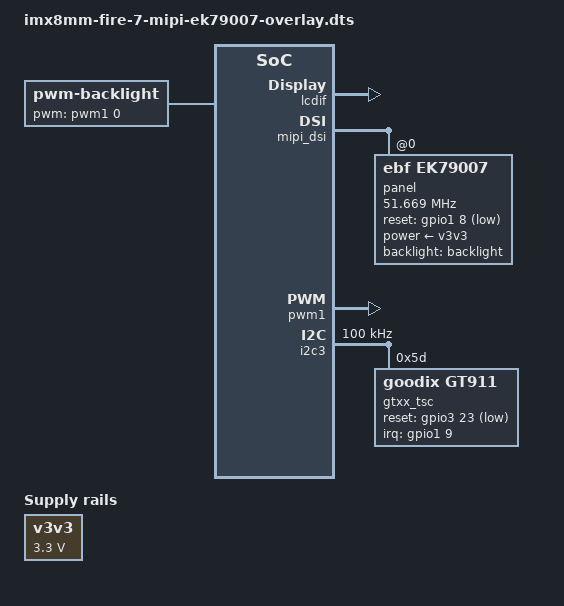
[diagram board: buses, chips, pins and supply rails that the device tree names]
/*
 * Copyright (C) 2021 - All Rights Reserved by 
 * filename : imx8mm-fire-mipi-overlay.dts
 * brief : Device Tree overlay for ebf imx8mm hx8394 lcd device
 * author : embedfire
 * date : 2023-02-05 
 * version : A001
 */

/dts-v1/;
/plugin/;

#include "../imx8mm-pinfunc.h"
#include "dt-bindings/gpio/gpio.h"
#include "dt-bindings/interrupt-controller/arm-gic.h"

/ {
    fragment@0 {
        target-path = "/";
        __overlay__ {
            v3v3: regulator-3p3v {
                compatible = "regulator-fixed";
                regulator-name = "v3v3";
                regulator-min-microvolt = <3300000>;
                regulator-max-microvolt = <3300000>;
                regulator-always-on;
                regulator-boot-on;
            };

            backlight:backlight{
                compatible = "pwm-backlight";
                pwms = <&pwm1 0 50000>;
                status = "okay";

                brightness-levels = < 0  1  2  3  4  5  6  7  8  9
                                      10 11 12 13 14 15 16 17 18 19
                                      20 21 22 23 24 25 26 27 28 29
                                      30 31 32 33 34 35 36 37 38 39
                                      40 41 42 43 44 45 46 47 48 49
                                      50 51 52 53 54 55 56 57 58 59
                                      60 61 62 63 64 65 66 67 68 69
                                      70 71 72 73 74 75 76 77 78 79
                                      80 81 82 83 84 85 86 87 88 89
                                      90 91 92 93 94 95 96 97 98 99
                                      100>;
                 default-brightness-level = <80>;
            };
        };
    };

    fragment@1 {
        target= <&lcdif>;
        __overlay__{
            status = "okay";
        };
    };

	fragment@2 {
		target= <&mipi_dsi>;
		__overlay__{
			status = "okay";
			#address-cells = <1>;
        	#size-cells = <0>;
			panel@0 {
				compatible = "ebf,ek79007";
				reg = <0>;
                pinctrl-names = "default";
				pinctrl-0 = <&dsi_rst>;
				reset-gpios = <&gpio1 8 GPIO_ACTIVE_LOW>;
				power-supply = <&v3v3>;
				backlight = <&backlight>;

				clock-frequency = <51668640>;
				hactive = <1024>;
				vactive = <600>;
				hsync-len = <10>;
				hback-porch = <160>;
				hfront-porch = <160>;
				vsync-len = <1>;
				vback-porch = <23>;
				vfront-porch = <12>;
				hsync-active = <0>;
				vsync-active = <0>;
                vrefresh = <60>;

				status = "okay";
			};
		};
	};


	fragment@3 {
         target= <&pwm1>;
         __overlay__{
             pinctrl-names = "default";
             pinctrl-0 = <&pinctrl_pwm1>;
             status = "okay";
        };
    };

	fragment@4 {
		target = <&i2c3>;
		__overlay__ {
			clock-frequency = <100000>;
			pinctrl-names = "default";
			pinctrl-0 = <&pinctrl_i2c3>;
			status = "okay";

			#address-cells = <1>;
			#size-cells = <0>;

			gtxx_tsc@5d {
				compatible = "goodix,gt911";
				pinctrl-names = "default";
				pinctrl-0 = <&pinctrl_tsc>;
				reg = <0x5d>;
				status = "okay";

				reset-gpios = <&gpio3 23 GPIO_ACTIVE_LOW>;
				irq-gpios = <&gpio1 9 GPIO_ACTIVE_HIGH>;
				interrupt-parent = <&gpio1>;
				interrupts = <9 IRQ_TYPE_EDGE_FALLING>;
				touchscreen-inverted-x = <1>;
				touchscreen-inverted-y = <1>;
			};
		};
	};
	
    fragment@5 {
        target= <&iomuxc>;
        __overlay__{
            pinctrl_pwm1:pwm1grp {
                fsl,pins = <
                    MX8MM_IOMUXC_GPIO1_IO01_PWM1_OUT   0x116
                    >;
                };
		    dsi_rst:dsi_rst {
			    fsl,pins = <
				    MX8MM_IOMUXC_GPIO1_IO08_GPIO1_IO8  0x116
				>;
		    };
			pinctrl_i2c3: i2c3grp {
				fsl,pins = <
					MX8MM_IOMUXC_I2C3_SCL_I2C3_SCL                  0x400001c3
					MX8MM_IOMUXC_I2C3_SDA_I2C3_SDA                  0x400001c3
				>;
			};
			pinctrl_tsc: tscgrp {
				fsl,pins = <
					MX8MM_IOMUXC_SAI5_RXD2_GPIO3_IO23               0x149
					MX8MM_IOMUXC_GPIO1_IO09_GPIO1_IO9               0x1d6
				>;
			};
        };
    };
};
